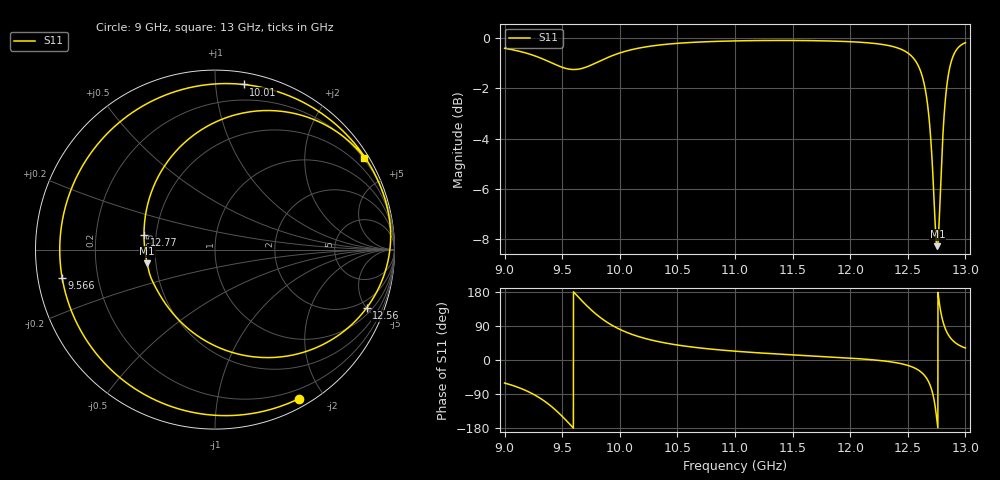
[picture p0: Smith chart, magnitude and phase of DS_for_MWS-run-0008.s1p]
! TOUCHSTONE file generated by CST DESIGN STUDIO
! Date and time: Tue Feb  4 16:12:25 2025
! Project name: C:\Work\MatlabApps\UnitCellOptimizationMatlab\CST\unitcell.cst
! Tree item: Tasks\Sweep1\SPara1\S-Parameters
! Header version: 2024
! Port assignment regex: !\s*Touchstone port\s*([0-9]+)\s*=\s*(CST MWS port|CST DES external port|CST DES block port)\s*(.+)\s* \(\"(.*)\"\)(\s*mode\s*([0-9]+))?.*
! Touchstone port assignment:
! Touchstone port 1 = CST DES external port 1 ("")
# GHz S MA R 50
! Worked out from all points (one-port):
!   4001 points, 9 GHz to 13 GHz, reference 50 ohm
!   lowest |S11| = -8.3 dB at 12.76 GHz (marker M1), VSWR 2.26, Z = 22.3 - j4.04 ohm
!   |S11| at or under -10 dB: nowhere
!   S11 on the Smith chart (normalised r, x): 9 GHz: 0.09, -1.70; 9.566 GHz: 0.07, -0.09; 10.01 GHz: 0.08, +1.18; 12.56 GHz: 1.39, -5.01; 12.77 GHz: 0.43, +0.08; 13 GHz: 0.15, +3.52
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9  0.9532 -60.8
9.157  0.9366 -77.0
9.307  0.9125 -100.5
9.407  0.8919 -122.7
9.5  0.8738 -148.6
9.566  0.8661 -169.5
9.662  0.8682 159.1
9.78  0.8888 124.6
9.879  0.9105 101.7
10  0.933 80.9
10.005  0.9337 80.2
10.219  0.9588 56.9
10.5  0.975 39.5
11  0.9859 23.3
11.5  0.9877 13.6
12  0.9823 5.0
12.309  0.9675 -3.1
12.5  0.933 -14.2
12.559  0.905 -21.1
12.639  0.816 -38.6
12.697  0.6408 -69.1
12.727  0.4825 -103.6
12.757  0.3859 -168.5
12.766  0.4039 168.4
12.801  0.6173 106.3
12.835  0.7898 76.2
12.902  0.9291 48.2
13  0.9778 31.7
